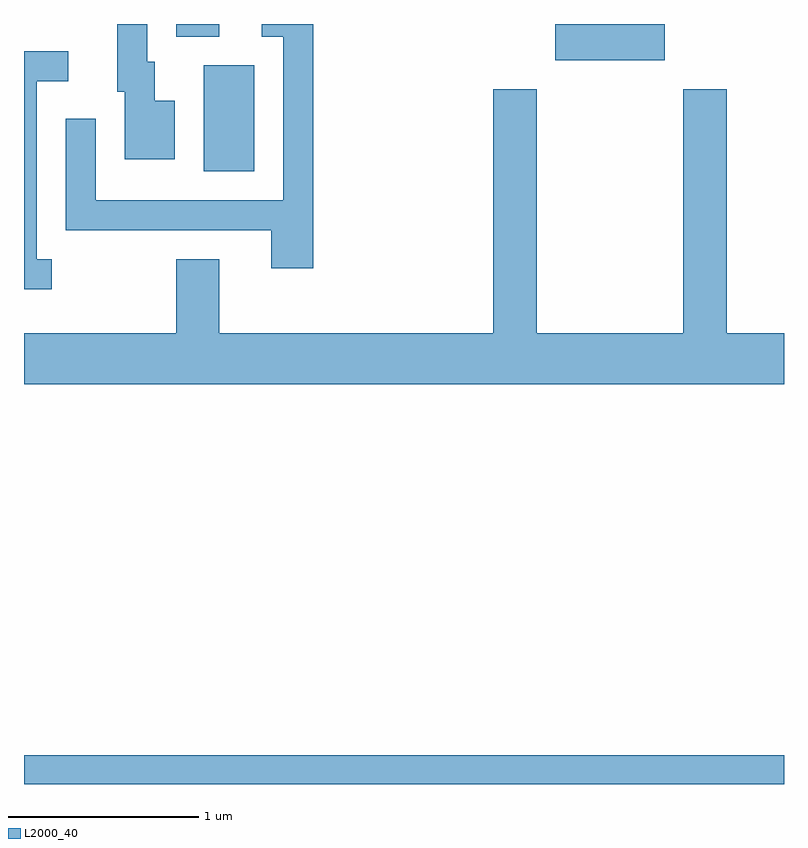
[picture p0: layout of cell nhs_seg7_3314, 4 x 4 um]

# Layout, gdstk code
import gdstk
lib = gdstk.Library(unit=1e-6, precision=1e-09)
def R(c, l, rs):  # rectangles x0, y0, x1, y1
    for r in rs: c.add(gdstk.rectangle(r[:2], r[2:], *l))
def P(c, l, *ps):  # polygons
    for p in ps: c.add(gdstk.Polygon(p, *l))
L2000_40 = (2000, 40)

nhs_seg7_3314 = lib.new_cell('nhs_seg7_3314')
R(nhs_seg7_3314, L2000_40, [(287.611,1672.252,291.611,1672.404), (288.556,1675.476,288.824,1676.034), (290.406,1676.061,290.984,1676.252), (288.411,1676.186,288.639,1676.252)])
P(nhs_seg7_3314, L2000_40, [(288.404,1675.849),(288.299,1675.849),(288.299,1676.054),(288.259,1676.054),(288.259,1676.252),(288.101,1676.252),(288.101,1675.896),(288.141,1675.896),(288.141,1675.541),(288.404,1675.541)],
  [(289.134,1676.252),(288.863,1676.252),(288.863,1676.186),(288.976,1676.186),(288.976,1675.324),(287.989,1675.324),(287.989,1675.753),(287.831,1675.753),(287.831,1675.166),(288.911,1675.166),(288.911,1674.966),(289.134,1674.966)],
  [(287.758,1675.014),(287.679,1675.014),(287.679,1675.951),(287.843,1675.951),(287.843,1676.109),(287.611,1676.109),(287.611,1674.856),(287.758,1674.856)],
  [(291.611,1674.624),(291.309,1674.624),(291.309,1675.909),(291.081,1675.909),(291.081,1674.624),(290.309,1674.624),(290.309,1675.909),(290.081,1675.909),(290.081,1674.624),(288.639,1674.624),(288.639,1675.014),(288.411,1675.014),(288.411,1674.624),(287.611,1674.624),(287.611,1674.356),(291.611,1674.356)])

lib.write_gds('nhs_seg7_3314.gds')
